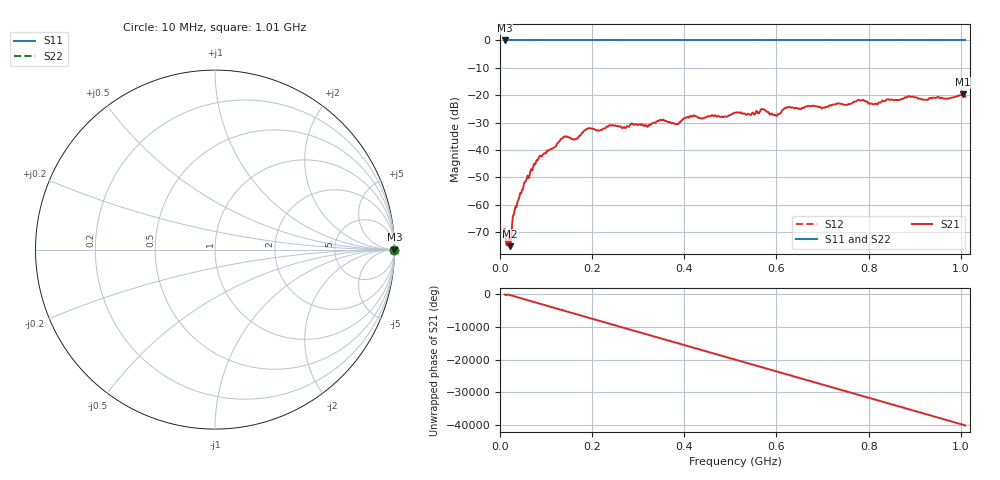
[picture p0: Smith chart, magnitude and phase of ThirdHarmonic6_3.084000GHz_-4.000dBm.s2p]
! 8/17/2025 9:03:00 AM
! C:\ANRITSUVNA\TEMP\TEMP.S2P
! CHANNEL.1
! TR.MEASUREMENT
! RAW.DATA
! RF.CORRECTION.OFF
! AVERAGING.OFF
! IF.BANDWIDTH: 5KHZ
! SWEEPTYPE:  FREQ.SWEEP(Linear)
! Reference Plane Port Info
! PORT:  PORT1  PORT2
! DISTANCE:  0  m  0  m
! TIME:  0  s  0  s
! PHASE.OFFSET:  0  deg.  0  deg.
! LOSS:  0  dB  0  dB
! REF.LOSS:  0  dB  0  dB
! REF.FREQ:  0  Hz  0  Hz
! Power Info
! POWER:  -20  dBm  -20  dBm
! EFF.POWER:  -20  dBm  -20  dBm
! SOURCE.ATTEN:  0  dB  0  dB
! TEST.ATTEN:  0  dB  0  dB
# GHZ S RI R 50.0
! FREQ.GHZ  S11RE  S11IM  S21RE  S21IM  S12RE  S12IM  S22RE  S22IM
!; PortSelection: Port_12
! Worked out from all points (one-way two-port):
!   501 points, 10 MHz to 1.01 GHz, reference 50 ohm
!   highest |S21| = -19.75 dB at 1.004 GHz (marker M1); lowest = -75.2 dB at 22 MHz (marker M2)
!   lowest |S11| = 0.0 dB at 10 MHz (marker M3)
!   |S11| at or under -10 dB: nowhere
!   |S22| runs from 0.0 to 0.0 dB; largest |S21 - S12| = 1.1
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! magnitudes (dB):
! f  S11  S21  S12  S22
! 10 MHz  0.0  -69.0  0.0  0.0
! 18 MHz  0.0  -73.4  0.0  0.0
! 22 MHz  0.0  -75.2  0.0  0.0
! 30 MHz  0.0  -63.7  0.0  0.0
! 42 MHz  0.0  -57.3  0.0  0.0
! 82 MHz  0.0  -43.7  0.0  0.0
! 136 MHz  0.0  -35.7  0.0  0.0
! 164 MHz  0.0  -36.1  0.0  0.0
! 178 MHz  0.0  -33.8  0.0  0.0
! 192 MHz  0.0  -32.1  0.0  0.0
! 318 MHz  0.0  -31.2  0.0  0.0
! 344 MHz  0.0  -29.4  0.0  0.0
! 384 MHz  0.0  -30.5  0.0  0.0
! 418 MHz  0.0  -27.8  0.0  0.0
! 510 MHz  0.0  -26.4  0.0  0.0
! 570 MHz  0.0  -25.0  0.0  0.0
! 598 MHz  0.0  -27.4  0.0  0.0
! 624 MHz  0.0  -24.4  0.0  0.0
! 678 MHz  0.0  -23.9  0.0  0.0
! 844 MHz  0.0  -21.6  0.0  0.0
! 1.004 GHz  0.0  -19.7  0.0  0.0
! 1.01 GHz  0.0  -20.5  0.0  0.0
